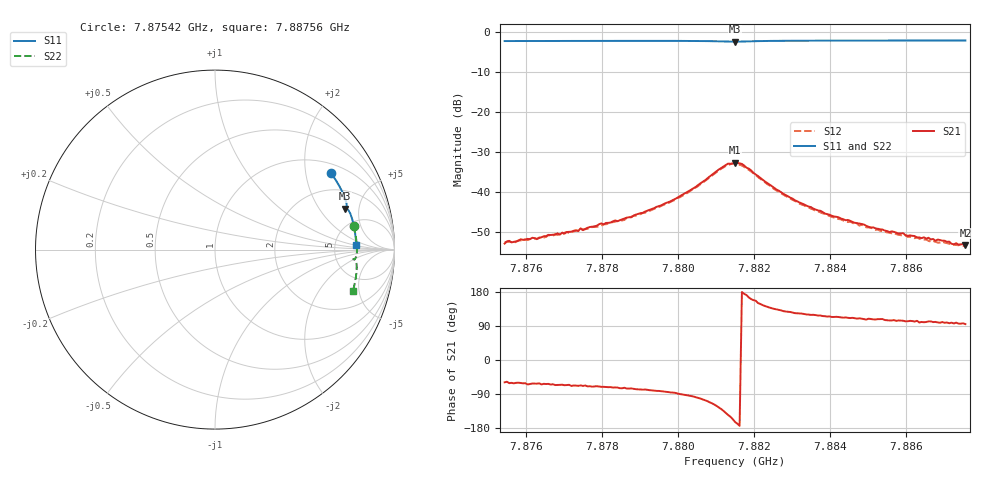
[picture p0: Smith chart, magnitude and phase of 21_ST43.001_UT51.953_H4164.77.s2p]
#  HZ  S  DB  R  50.00
! Rohde & Schwarz Vector Network Analyzer
! Rohde-Schwarz,ZNB20-2Port,1311601062101988,3.16
! Created: UTC 1/12/2023, 6:30:39 PM
! freq[Hz]  db:S11  ang:S11  db:S21  ang:S21  db:S12  ang:S12  db:S22  ang:S22
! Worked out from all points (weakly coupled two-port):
!   201 points, 7.87542 GHz to 7.88756 GHz, reference 50 ohm
!   highest |S21| = -32.57 dB at 7.88149 GHz (marker M1); lowest = -53.2 dB at 7.88756 GHz (marker M2)
!   lowest |S11| = -2.4 dB at 7.88149 GHz (marker M3), VSWR 7.36, Z = 165 + j179 ohm
!   |S11| at or under -10 dB: nowhere
!   |S22| runs from -2.2 to -1.9 dB; largest |S21 - S12| = 0.0019
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7.875424e9  -2.22 33.4  -52.83 -59.0  -52.50 -62.0  -2.13 9.6
7.875546e9  -2.22 33.1  -52.14 -61.1  -52.35 -63.6  -2.12 9.2
7.875606e9  -2.22 32.9  -52.52 -60.3  -52.44 -63.8  -2.12 9.1
7.875849e9  -2.21 32.2  -51.73 -60.7  -52.05 -64.8  -2.11 8.5
7.876274e9  -2.21 31.1  -51.64 -62.5  -51.73 -66.7  -2.10 7.5
7.876577e9  -2.20 30.2  -50.65 -63.1  -50.70 -68.4  -2.10 6.9
7.877365e9  -2.19 28.1  -49.65 -68.2  -49.70 -69.8  -2.07 5.0
7.877426e9  -2.19 27.9  -49.02 -67.1  -49.27 -70.6  -2.07 4.9
7.877487e9  -2.19 27.8  -49.48 -68.4  -49.27 -71.3  -2.07 4.7
7.877972e9  -2.18 26.5  -47.77 -70.8  -48.34 -72.8  -2.06 3.6
7.878578e9  -2.18 24.8  -46.57 -73.2  -46.91 -77.2  -2.05 2.3
7.879488e9  -2.17 22.3  -43.45 -81.7  -43.69 -85.5  -2.04 0.0
7.880398e9  -2.19 19.6  -39.01 -96.5  -39.16 -100.1  -2.06 -2.3
7.881308e9  -2.36 17.5  -32.83 -145.1  -33.16 -148.2  -2.22 -4.0
7.88149e9  -2.38 17.5  -32.57 -163.4  -32.83 -166.1  -2.24 -3.9
7.881672e9  -2.35 17.5  -32.92 179.4  -33.33 176.1  -2.22 -3.9
7.882764e9  -2.16 14.7  -40.39 129.0  -40.61 125.9  -2.01 -6.0
7.883552e9  -2.12 12.5  -44.09 119.2  -44.31 115.1  -1.98 -7.9
7.884765e9  -2.10 9.2  -47.82 110.1  -48.34 106.2  -1.94 -10.7
7.884826e9  -2.10 9.0  -47.95 109.0  -48.08 107.7  -1.94 -10.9
7.885554e9  -2.09 7.1  -49.95 104.5  -50.11 102.4  -1.93 -12.4
7.887555e9  -2.07 1.9  -53.19 94.8  -53.47 93.0  -1.92 -16.8
